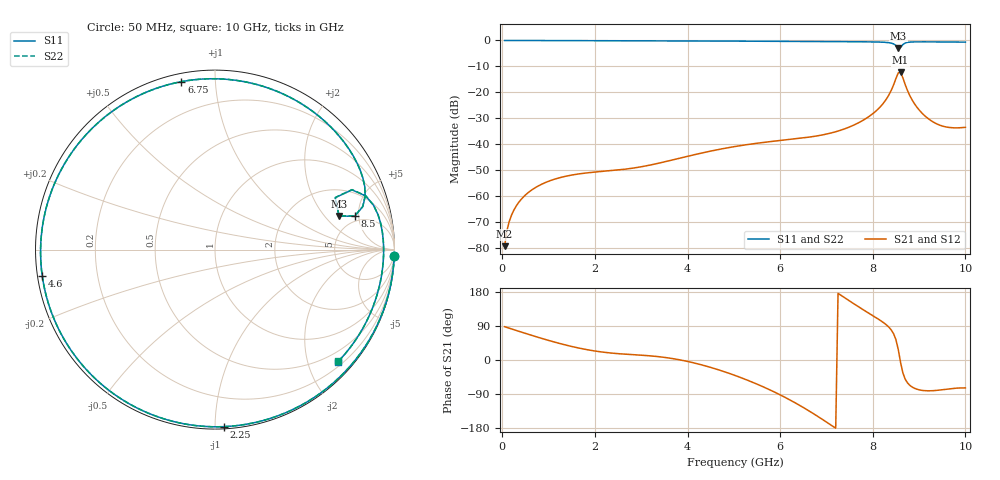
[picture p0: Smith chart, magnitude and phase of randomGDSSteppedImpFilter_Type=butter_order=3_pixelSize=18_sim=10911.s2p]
! freq	dB(S11)	phase(S11)	dB(S12)	phase(S12)
!  dB(S21)	phase(S21)	dB(S22)	phase(S22)
!S-par simulation data
#  GHz  S  DB  R 50
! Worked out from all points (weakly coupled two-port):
!   200 points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, 50 MHz to 10 GHz, reference 50 ohm
!   highest |S21| = -12.31 dB at 8.6 GHz (marker M1); lowest = -79.2 dB at 50 MHz (marker M2)
!   lowest |S11| = -2.9 dB at 8.55 GHz (marker M3), VSWR 6.03, Z = 187 + j143 ohm
!   |S11| at or under -10 dB: nowhere
!   |S22| runs from -2.9 to 0.0 dB; largest |S21 - S12| = 0
!   S11 on the Smith chart (normalised r, x): 50 MHz: 1, -56; 2.25 GHz: 0.01, -1.05; 4.6 GHz: 0.01, -0.07; 6.75 GHz: 0.04, +0.82; 8.5 GHz: 4.30, +4.43; 10 GHz: 0.29, -2.56
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0.05  -0.01 -2.0  -79.24 87.9  -79.24 87.9  -0.01 -2.0
0.1  -0.01 -4.0  -73.24 85.9  -73.24 85.9  -0.01 -4.0
0.2  -0.01 -8.1  -67.26 81.9  -67.26 81.9  -0.01 -8.1
0.5  -0.02 -20.1  -59.52 70.2  -59.52 70.2  -0.02 -20.1
1  -0.05 -39.8  -54.23 51.7  -54.23 51.7  -0.05 -39.8
1.75  -0.09 -68.6  -51.18 29.1  -51.18 29.1  -0.09 -68.6
2.25  -0.11 -87.2  -50.30 19.6  -50.30 19.6  -0.11 -87.2
3.4  -0.16 -128.5  -47.19 8.4  -47.19 8.4  -0.16 -128.5
4.6  -0.23 -171.5  -42.25 -23.2  -42.25 -23.2  -0.23 -171.4
5.05  -0.27 171.8  -40.78 -41.8  -40.78 -41.8  -0.26 171.8
5.85  -0.33 140.2  -38.84 -83.0  -38.84 -83.0  -0.33 140.3
6.7  -0.40 103.6  -37.05 -140.2  -37.05 -140.2  -0.40 103.7
6.75  -0.41 101.3  -36.91 -144.0  -36.91 -144.0  -0.41 101.4
7.75  -0.51 54.1  -31.17 136.0  -31.17 136.0  -0.51 54.2
8.35  -0.87 22.7  -20.93 86.4  -20.93 86.4  -0.87 22.8
8.5  -1.94 13.4  -14.67 53.7  -14.67 53.7  -1.94 13.6
8.55  -2.91 15.2  -12.50 28.0  -12.50 28.0  -2.90 15.3
8.6  -2.73 23.3  -12.31 -6.3  -12.31 -6.3  -2.73 23.4
8.85  -0.59 9.0  -22.93 -71.3  -22.93 -71.3  -0.59 9.1
9.15  -0.54 -6.4  -29.44 -81.2  -29.44 -81.2  -0.54 -6.3
9.55  -0.59 -24.1  -33.19 -77.6  -33.19 -77.6  -0.59 -24.0
10  -0.66 -42.3  -33.46 -73.7  -33.46 -73.7  -0.66 -42.2
